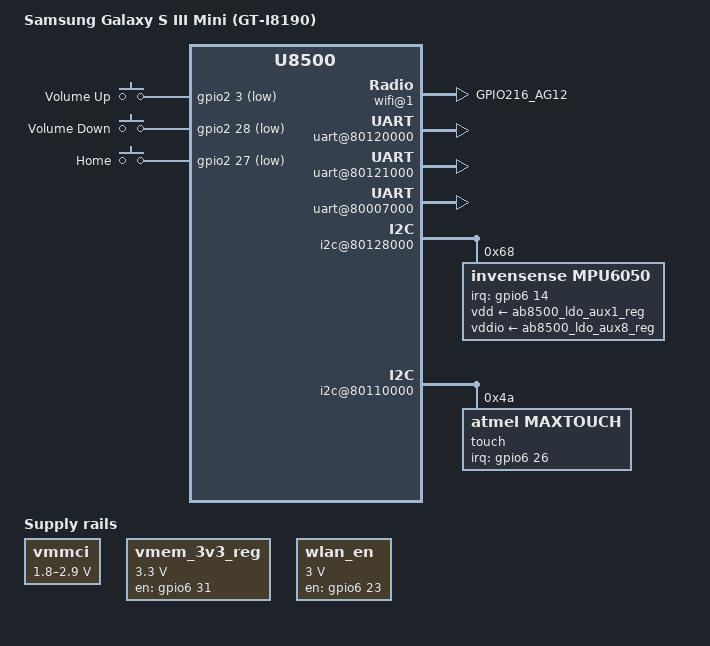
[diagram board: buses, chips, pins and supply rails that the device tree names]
// SPDX-License-Identifier: GPL-2.0-only
/dts-v1/;

#include "ste-dbx5x0.dtsi"
#include "ste-href-family-pinctrl.dtsi"
#include "ste-href-ab8505.dtsi"
#include <dt-bindings/gpio/gpio.h>
#include <dt-bindings/input/input.h>

/ {
	model = "Samsung Galaxy S III Mini (GT-I8190)";
	compatible = "samsung,golden", "st-ericsson,u8500";

	/* This stablilizes the serial port enumeration */
	aliases {
		serial0 = &ux500_serial0;
		serial1 = &ux500_serial1;
		serial2 = &ux500_serial2;
	};

	chosen {
		stdout-path = &ux500_serial2;
	};

	/* TI TXS0206-29 level translator for 1.8/2.9 V */
	vmmci: regulator-vmmci {
		compatible = "regulator-gpio";

		/* GPIO87 EN */
		gpios = <&gpio2 23 GPIO_ACTIVE_HIGH>;

		regulator-name = "mmci-reg";
		regulator-type = "voltage";
		regulator-min-microvolt = <1800000>;
		regulator-max-microvolt = <2900000>;

		startup-delay-us = <200>;

		states = <1800000 0x0
			  2900000 0x1>;
	};

	/* External LDO for eMMC */
	vmem_3v3_reg: regulator-vmem {
		compatible = "regulator-fixed";

		regulator-name = "vmem-3v3";
		regulator-min-microvolt = <3300000>;
		regulator-max-microvolt = <3300000>;

		startup-delay-us = <200>;

		/* GPIO223 CE */
		gpio = <&gpio6 31 GPIO_ACTIVE_HIGH>;
		enable-active-high;
	};

	wlan_en: regulator-wlan-en {
		compatible = "regulator-fixed";

		regulator-name = "wl-reg-on";
		regulator-min-microvolt = <3000000>;
		regulator-max-microvolt = <3000000>;

		startup-delay-us = <200000>;

		/* GPIO215 WLAN_EN */
		gpio = <&gpio6 23 GPIO_ACTIVE_HIGH>;
		enable-active-high;

		pinctrl-names = "default";
		pinctrl-0 = <&wlan_en_default_mode>;
	};

	gpio-keys {
		compatible = "gpio-keys";

		pinctrl-names = "default";
		pinctrl-0 = <&gpio_keys_default_mode>;

		label = "GPIO Buttons";

		volume-up {
			label = "Volume Up";
			/* GPIO67 */
			gpios = <&gpio2 3 GPIO_ACTIVE_LOW>;
			linux,code = <KEY_VOLUMEUP>;
		};

		volume-down {
			label = "Volume Down";
			/* GPIO92 */
			gpios = <&gpio2 28 GPIO_ACTIVE_LOW>;
			linux,code = <KEY_VOLUMEDOWN>;
		};

		home {
			label = "Home";
			/* GPIO91 */
			gpios = <&gpio2 27 GPIO_ACTIVE_LOW>;
			linux,code = <KEY_HOMEPAGE>;
		};
	};

	soc {
		// External Micro SD slot
		sdi0_per1@80126000 {
			arm,primecell-periphid = <0x10480180>;
			max-frequency = <100000000>;
			bus-width = <4>;
			cap-sd-highspeed;
			cap-mmc-highspeed;
			sd-uhs-sdr12;
			sd-uhs-sdr25;
			/* All direction control is used */
			st,sig-dir-cmd;
			st,sig-dir-dat0;
			st,sig-dir-dat2;
			st,sig-dir-dat31;
			st,sig-pin-fbclk;
			full-pwr-cycle;
			vmmc-supply = <&ab8500_ldo_aux3_reg>;
			vqmmc-supply = <&vmmci>;
			pinctrl-names = "default", "sleep";
			pinctrl-0 = <&sdi0_default_mode>;
			pinctrl-1 = <&sdi0_sleep_mode>;
			status = "okay";
		};

		// WLAN SDIO channel
		sdi1_per2@80118000 {
			arm,primecell-periphid = <0x10480180>;
			max-frequency = <50000000>;
			bus-width = <4>;
			non-removable;
			cap-sd-highspeed;
			vmmc-supply = <&wlan_en>;
			pinctrl-names = "default", "sleep";
			pinctrl-0 = <&sdi1_default_mode>;
			pinctrl-1 = <&sdi1_sleep_mode>;

			/* FIXME: Some transfers get stuck with DMA */
			/delete-property/ dmas;
			/delete-property/ dma-names;

			status = "okay";

			#address-cells = <1>;
			#size-cells = <0>;

			wifi@1 {
				compatible = "brcm,bcm4329-fmac";
				reg = <1>;
				interrupt-parent = <&gpio6>;
				interrupts = <24 IRQ_TYPE_EDGE_FALLING>;
				interrupt-names = "host-wake";

				pinctrl-names = "default";
				pinctrl-0 = <&wlan_default_mode>;
			};
		};

		// eMMC
		sdi2_per3@80005000 {
			arm,primecell-periphid = <0x10480180>;
			max-frequency = <100000000>;
			bus-width = <8>;
			cap-mmc-highspeed;
			vmmc-supply = <&vmem_3v3_reg>;

			pinctrl-names = "default", "sleep";
			pinctrl-0 = <&sdi2_default_mode>;
			pinctrl-1 = <&sdi2_sleep_mode>;

			status = "okay";
		};

		/* BT UART */
		uart@80120000 {
			pinctrl-names = "default", "sleep";
			pinctrl-0 = <&uart0_default_mode>;
			pinctrl-1 = <&uart0_sleep_mode>;
			status = "okay";
		};

		/* GPS UART */
		uart@80121000 {
			pinctrl-names = "default", "sleep";
			pinctrl-0 = <&uart1_default_mode>;
			pinctrl-1 = <&uart1_sleep_mode>;
			status = "okay";
		};

		/* Debugging console UART */
		uart@80007000 {
			pinctrl-names = "default", "sleep";
			pinctrl-0 = <&uart2_default_mode>;
			pinctrl-1 = <&uart2_sleep_mode>;
			status = "okay";
		};

		i2c@80128000 {
			pinctrl-names = "default", "sleep";
			pinctrl-0 = <&i2c2_default_mode>;
			pinctrl-1 = <&i2c2_sleep_mode>;

			mpu6050@68 {
				compatible = "invensense,mpu6050";
				reg = <0x68>;
				interrupt-parent = <&gpio6>;
				interrupts = <14 IRQ_TYPE_EDGE_RISING>;

				mount-matrix = "0", "1", "0",
					      "-1", "0", "0",
					       "0", "0", "1";

				vdd-supply = <&ab8500_ldo_aux1_reg>;
				vddio-supply = <&ab8500_ldo_aux8_reg>;

				pinctrl-names = "default";
				pinctrl-0 = <&imu_default_mode>;
			};
		};

		i2c@80110000 {
			pinctrl-names = "default", "sleep";
			pinctrl-0 = <&i2c3_default_mode>;
			pinctrl-1 = <&i2c3_sleep_mode>;

			touch@4a {
				compatible = "atmel,maxtouch";
				reg = <0x4a>;
				interrupt-parent = <&gpio6>;
				interrupts = <26 IRQ_TYPE_EDGE_FALLING>;

				pinctrl-names = "default";
				pinctrl-0 = <&tsp_default_mode>;
			};
		};

		prcmu@80157000 {
			cpufreq {
				status = "okay";
			};

			ab8505 {
				ab8500_usb {
					pinctrl-names = "default", "sleep";
					pinctrl-0 = <&musb_default_mode>;
					pinctrl-1 = <&musb_sleep_mode>;
				};

				ab8500-regulators {
					/* Sensors supply */
					ab8500_ldo_aux1 {
						regulator-min-microvolt = <3000000>;
						regulator-max-microvolt = <3300000>;
					};

					/* Touch screen supply (VREG_TSP_A3V3) */
					ab8500_ldo_aux2 {
						regulator-always-on; /* TODO */
						regulator-min-microvolt = <3300000>;
						regulator-max-microvolt = <3300000>;
					};

					/* Touch screen supply (VREG_TSP_1V8) */
					ab8500_ldo_aux5 {
						regulator-always-on; /* TODO */
						regulator-min-microvolt = <1800000>;
						regulator-max-microvolt = <1800000>;
					};
				};
			};
		};

		pinctrl {
			gpio-keys {
				gpio_keys_default_mode: gpio_keys_default {
					golden_cfg1 {
						pins = "GPIO67", /* VOL_UP */
						       "GPIO91", /* HOME_KEY */
						       "GPIO92"; /* VOL_DOWN */
						ste,config = <&gpio_in_pu>;
					};
				};
			};

			sdi0 {
				sdi0_default_mode: sdi0_default {
					golden_mux {
						function = "mc0";
						/* Add the DAT31 pin even if it is not really used */
						groups = "mc0dat31dir_a_1";
					};
					golden_cfg1 {
						pins = "GPIO21_AB3"; /* DAT31DIR */
						ste,config = <&out_hi>;
					};
					/* level shifter on GPIO87 */
					golden_cfg2 {
						pins = "GPIO87_B3";
						ste,config = <&gpio_out_hi>;
					};
				};
			};
			sdi2 {
				sdi2_default_mode: sdi2_default {
					/* LDO enable on GPIO223 */
					golden_cfg1 {
						pins = "GPIO223_AH9";
						ste,config = <&gpio_out_hi>;
					};
				};
			};

			imu {
				imu_default_mode: imu_default {
					golden_cfg1 {
						pins = "GPIO206_AG24";
						ste,config = <&gpio_in_pd>;
					};
				};
			};

			tsp {
				tsp_default_mode: tsp_default {
					golden_cfg1 {
						pins = "GPIO218_AH11";
						ste,config = <&gpio_in_nopull>;
					};
				};
			};

			wlan {
				wlan_default_mode: wlan_default {
					golden_cfg1 {
						pins = "GPIO216_AG12";
						ste,config = <&gpio_in_pd>;
					};
				};
				wlan_en_default_mode: wlan_en_default {
					golden_cfg1 {
						pins = "GPIO215_AH13";
						ste,config = <&gpio_out_lo>;
					};
				};
			};
		};
	};
};
